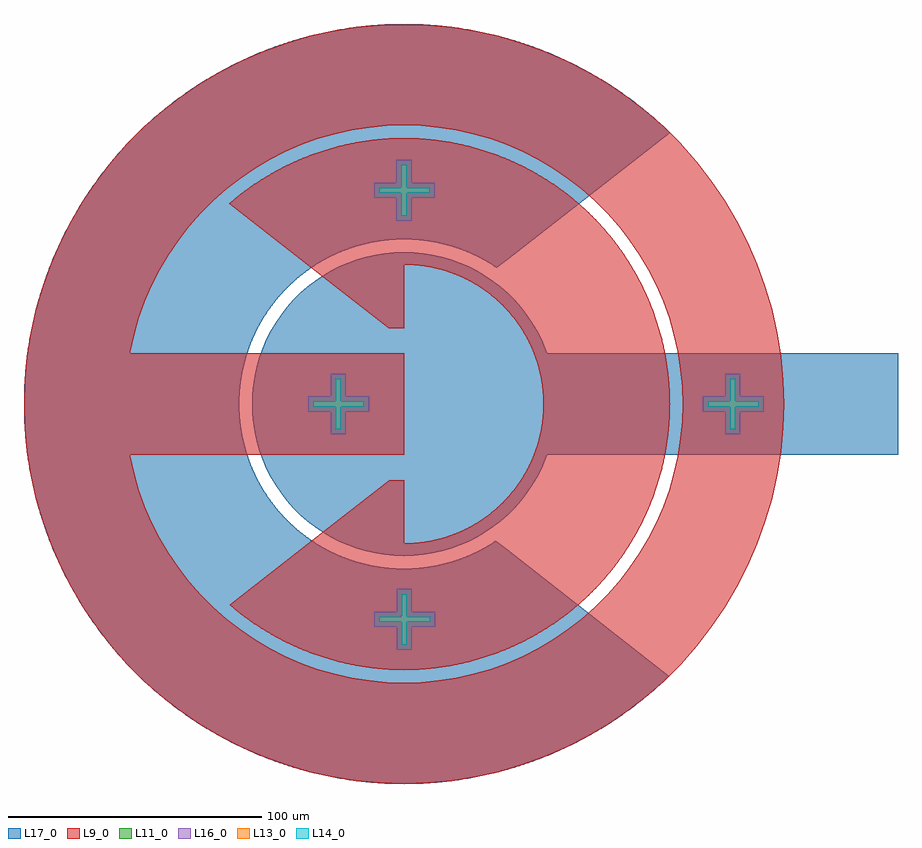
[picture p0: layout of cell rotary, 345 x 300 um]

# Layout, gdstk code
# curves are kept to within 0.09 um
import gdstk
lib = gdstk.Library(unit=1e-6, precision=1e-09)
def R(c, l, rs):  # rectangles x0, y0, x1, y1
    for r in rs: c.add(gdstk.rectangle(r[:2], r[2:], *l))
def P(c, l, *ps):  # polygons
    for p in ps: c.add(gdstk.Polygon(p, *l))
L9_0 = (9, 0)
L11_0 = (11, 0)
L13_0 = (13, 0)
L14_0 = (14, 0)
L16_0 = (16, 0)
L17_0 = (17, 0)
L218_0 = (218, 0)

contact_cross = lib.new_cell('contact_cross')
R(contact_cross, L9_0, [(0,0,30,30)])
R(contact_cross, L11_0, [(11.8,3,17.8,27), (3,12,27,18)])
R(contact_cross, L13_0, [(13.8,5,15.8,25), (5,14,25,16)])
R(contact_cross, L14_0, [(13.8,5,15.8,25), (5,14,25,16)])
R(contact_cross, L16_0, [(11.8,3,17.8,27), (3,12,27,18)])
R(contact_cross, L17_0, [(0,0,30,30)])

rotary = lib.new_cell('rotary')
P(rotary, L9_0, [(150,0.2),(149.704,9.619),(148.817,19),(147.343,28.307),(145.287,37.503),(142.658,46.553),(139.466,55.419),(135.724,64.067),(131.446,72.463),(126.649,80.574),(121.353,88.368),(115.577,95.814),(109.345,102.882),(102.682,109.545),(95.614,115.777),(88.168,121.553),(80.374,126.849),(72.263,131.646),(63.867,135.924),(55.219,139.666),(46.353,142.858),(37.303,145.487),(28.107,147.543),(18.8,149.017),(9.419,149.904),(0,150.2),(-9.419,149.904),(-18.8,149.017),(-28.107,147.543),(-37.303,145.487),(-46.353,142.858),(-55.219,139.666),(-63.867,135.924),(-72.263,131.646),(-80.374,126.849),(-88.168,121.553),(-95.614,115.777),(-102.682,109.545),(-109.345,102.882),(-115.577,95.814),(-121.353,88.368),(-126.649,80.574),(-131.446,72.463),(-135.724,64.067),(-139.466,55.419),(-142.658,46.553),(-145.287,37.503),(-147.343,28.307),(-148.817,19),(-149.704,9.619),(-150,0.2),(0,0.2),(0,20.2),(-108.149,20.2),(-106.544,27.556),(-104.616,34.192),(-102.275,40.694),(-99.531,47.036),(-96.394,53.193),(-92.876,59.141),(-88.992,64.856),(-84.756,70.317),(-80.187,75.5),(-75.3,80.387),(-70.117,84.956),(-64.656,89.192),(-58.941,93.076),(-52.993,96.594),(-46.836,99.731),(-40.494,102.475),(-33.992,104.816),(-27.356,106.744),(-20.612,108.252),(-13.787,109.333),(-6.907,109.983),(0,110.2),(6.907,109.983),(13.787,109.333),(20.612,108.252),(27.356,106.744),(33.992,104.816),(40.494,102.475),(46.836,99.731),(52.993,96.594),(58.941,93.076),(64.656,89.192),(70.117,84.956),(75.3,80.387),(80.187,75.5),(84.756,70.317),(88.992,64.856),(92.876,59.141),(96.394,53.193),(99.531,47.036),(102.275,40.694),(104.616,34.192),(106.544,27.556),(108.052,20.812),(109.133,13.987),(109.783,7.107),(110,0.2)],
  [(150,0.2),(110,0.2),(109.783,-6.707),(109.133,-13.587),(108.052,-20.412),(106.544,-27.156),(104.616,-33.792),(102.275,-40.294),(99.531,-46.636),(96.394,-52.793),(92.876,-58.741),(88.992,-64.456),(84.756,-69.917),(80.187,-75.1),(75.3,-79.987),(70.117,-84.556),(64.656,-88.792),(58.941,-92.676),(52.993,-96.194),(46.836,-99.331),(40.494,-102.075),(33.992,-104.416),(27.356,-106.344),(20.612,-107.852),(13.787,-108.933),(6.907,-109.583),(0,-109.8),(-6.907,-109.583),(-13.787,-108.933),(-20.612,-107.852),(-27.356,-106.344),(-33.992,-104.416),(-40.494,-102.075),(-46.836,-99.331),(-52.993,-96.194),(-58.941,-92.676),(-64.656,-88.792),(-70.117,-84.556),(-75.3,-79.987),(-80.187,-75.1),(-84.756,-69.917),(-88.992,-64.456),(-92.876,-58.741),(-96.394,-52.793),(-99.531,-46.636),(-102.275,-40.294),(-104.616,-33.792),(-106.544,-27.156),(-108.149,-19.8),(0,-19.8),(0,0.2),(-150,0.2),(-149.704,-9.219),(-148.817,-18.6),(-147.343,-27.907),(-145.287,-37.103),(-142.658,-46.153),(-139.466,-55.019),(-135.724,-63.667),(-131.446,-72.063),(-126.649,-80.174),(-121.353,-87.968),(-115.577,-95.414),(-109.345,-102.482),(-102.682,-109.145),(-95.614,-115.377),(-88.168,-121.153),(-80.374,-126.449),(-72.263,-131.246),(-63.867,-135.524),(-55.219,-139.266),(-46.353,-142.458),(-37.303,-145.087),(-28.107,-147.143),(-18.8,-148.617),(-9.419,-149.504),(0,-149.8),(9.419,-149.504),(18.8,-148.617),(28.107,-147.143),(37.303,-145.087),(46.353,-142.458),(55.219,-139.266),(63.867,-135.524),(72.263,-131.246),(80.374,-126.449),(88.168,-121.153),(95.614,-115.377),(102.682,-109.145),(109.345,-102.482),(115.577,-95.414),(121.353,-87.968),(126.649,-80.174),(131.446,-72.063),(135.724,-63.667),(139.466,-55.019),(142.658,-46.153),(145.287,-37.103),(147.343,-27.907),(148.817,-18.6),(149.704,-9.219)],
  [(18.07,-51.746),(13.678,-53.072),(8.945,-54.068),(4.487,-54.617),(0,-54.8),(0,-29.8),(-5.819,-29.8),(-25.39,-45.098),(-25.39,-101.683),(-20.323,-102.815),(-14.468,-103.798),(-9.224,-104.394),(-3.957,-104.725),(1.319,-104.792),(7.251,-104.549),(12.505,-104.053),(18.07,-103.233)],
  [(-25.39,-45.098),(-68.853,-79.073),(-63.833,-83.169),(-59.019,-86.643),(-53.449,-90.178),(-48.256,-93.054),(-42.908,-95.633),(-36.806,-98.138),(-31.189,-100.061),(-25.39,-101.683)],
  [(91.378,-51.52),(18.708,-51.52),(18.07,-51.746),(18.07,-103.233),(23.548,-102.125),(29.294,-100.631),(34.946,-98.814),(40.486,-96.681),(45.897,-94.238),(51.161,-91.493),(55.704,-88.806),(60.645,-85.516),(65.393,-81.951),(69.438,-78.562),(73.778,-74.511),(77.883,-70.222),(81.739,-65.708),(85.333,-60.983),(88.299,-56.618)],
  [(105,0.2),(61.85,0.2),(61.85,-51.52),(91.378,-51.52),(94.438,-45.697),(97.382,-39.066),(99.655,-32.874),(101.535,-26.551),(103.015,-20.123),(104.172,-12.96),(104.793,-6.393)],
  [(61.85,0.2),(55,0.2),(54.787,-4.632),(54.151,-9.426),(53.096,-14.146),(51.748,-18.431),(49.912,-22.905),(47.689,-27.2),(45.097,-31.284),(42.157,-35.124),(39.617,-37.951),(37.143,-40.363),(34.523,-42.615),(31.484,-44.897),(28.294,-46.964),(25.277,-48.648),(21.843,-50.277),(18.708,-51.52),(61.85,-51.52)],
  [(17.98,103.649),(12.505,104.453),(7.251,104.949),(1.319,105.192),(-3.957,105.125),(-9.881,104.734),(-15.121,104.105),(-20.323,103.215),(-25.53,102.049),(-25.53,45.396),(-6.025,30.2),(0,30.2),(0,55.2),(4.487,55.017),(8.945,54.468),(13.343,53.557),(17.98,52.178)],
  [(-25.53,102.049),(-31.819,100.263),(-37.423,98.305),(-42.908,96.033),(-48.841,93.149),(-54.581,89.899),(-59.563,86.671),(-64.355,83.166),(-69.049,79.302),(-25.53,45.396)],
  [(91.373,51.929),(88.299,57.018),(85.333,61.383),(81.739,66.108),(77.883,70.622),(73.778,74.911),(69.438,78.962),(65.393,82.351),(60.645,85.916),(55.704,89.206),(51.161,91.893),(45.897,94.638),(40.486,97.081),(34.946,99.214),(29.294,101.031),(23.548,102.525),(17.98,103.649),(17.98,52.178),(18.683,51.929)],
  [(105,0.2),(104.793,6.793),(104.172,13.36),(103.015,20.523),(101.535,26.951),(99.655,33.274),(97.382,39.466),(94.438,46.097),(91.373,51.929),(61.84,51.929),(61.84,0.2)],
  [(61.84,51.929),(18.683,51.929),(22.791,50.256),(26.496,48.397),(30.052,46.264),(33.71,43.659),(36.888,40.996),(39.856,38.101),(42.598,34.991),(45.097,31.684),(47.341,28.197),(49.315,24.552),(51.138,20.447),(52.518,16.537),(53.599,12.535),(54.376,8.462),(54.844,4.343),(55,0.2),(61.84,0.2)])
P(rotary, L17_0, [(-22.663,-73.94),(-130.396,-73.94),(-126.142,-80.968),(-121.353,-87.968),(-116.175,-94.686),(-110.627,-101.1),(-104.725,-107.19),(-98.488,-112.938),(-91.936,-118.323),(-85.09,-123.33),(-77.973,-127.942),(-70.606,-132.144),(-63.013,-135.923),(-55.219,-139.266),(-47.248,-142.164),(-39.126,-144.607),(-30.879,-146.587),(-22.663,-148.078)],
  [(-22.663,-60.721),(-27.306,-58.786),(-31.671,-56.562),(-35.857,-54.015),(-39.839,-51.16),(-43.595,-48.013),(-47.102,-44.592),(-50.343,-40.917),(-53.297,-37.008),(-55.948,-32.888),(-58.282,-28.579),(-60.284,-24.107),(-61.944,-19.497),(-63.251,-14.775),(-64.2,-9.968),(-64.783,-5.103),(-65,0.2),(-86.333,0.2),(-86.333,-73.94),(-22.663,-73.94)],
  [(-86.333,0.2),(-150,0.2),(-149.642,-10.159),(-148.696,-19.535),(-147.164,-28.832),(-145.05,-38.016),(-142.065,-47.942),(-138.762,-56.767),(-134.911,-65.367),(-130.396,-73.94),(-86.333,-73.94)],
  [(104.667,-107.246),(40.997,-57.384),(40.997,-144.089),(49.923,-141.249),(58.706,-137.835),(66.414,-134.296),(74.728,-129.861),(82.747,-124.912),(90.439,-119.469),(97.775,-113.554)],
  [(40.997,-57.384),(36.31,-53.713),(32.736,-55.955),(28.779,-58.082),(24.686,-59.93),(20.474,-61.491),(16.165,-62.758),(12.18,-63.649),(7.741,-64.337),(3.266,-64.718),(-3.266,-64.718),(-6.93,-64.43),(-10.168,-64),(-16.56,-62.655),(-22.663,-60.721),(-22.663,-101.753),(40.997,-101.753)],
  [(40.997,-101.753),(-22.663,-101.753),(-22.663,-148.078),(-15.054,-149.043),(-6.595,-149.655),(0.942,-149.797),(9.419,-149.504),(16.928,-148.842),(25.325,-147.647),(32.721,-146.188),(40.997,-144.089)],
  [(-22.497,148.504),(-30.879,146.987),(-39.126,145.007),(-47.248,142.564),(-55.219,139.666),(-63.013,136.323),(-70.606,132.544),(-77.973,128.342),(-85.09,123.73),(-91.936,118.723),(-98.488,113.338),(-104.725,107.59),(-110.627,101.5),(-116.175,95.086),(-121.353,88.368),(-126.142,81.368),(-130.388,74.354),(-22.497,74.354)],
  [(-22.497,74.354),(-86.247,74.354),(-86.247,0.2),(-65,0.2),(-64.872,4.281),(-64.435,8.752),(-63.691,13.181),(-62.75,17.155),(-61.429,21.448),(-59.974,25.263),(-58.282,28.979),(-56.36,32.582),(-53.297,37.408),(-50.083,41.633),(-46.25,45.872),(-42.059,49.759),(-37.542,53.262),(-32.736,56.355),(-27.676,59.014),(-22.497,61.183)],
  [(-86.247,74.354),(-130.388,74.354),(-134.911,65.767),(-138.762,57.167),(-142.065,48.342),(-145.05,38.416),(-147.164,29.232),(-148.696,19.935),(-149.642,10.559),(-150,0.2),(-86.247,0.2)],
  [(105.013,107.307),(98.488,113.338),(91.19,119.299),(83.531,124.789),(75.543,129.789),(67.257,134.276),(58.706,138.235),(49.923,141.649),(41.253,144.415),(41.253,57.532)],
  [(41.253,144.415),(33.641,146.379),(25.325,148.047),(16.928,149.242),(9.419,149.904),(0.942,150.197),(-6.595,150.055),(-15.054,149.443),(-22.497,148.504),(-22.497,102.05),(41.253,102.05)],
  [(41.253,102.05),(-22.497,102.05),(-22.497,61.183),(-18.526,62.504),(-14.975,63.451),(-11.376,64.197),(-7.336,64.785),(-3.266,65.118),(0.408,65.199),(4.081,65.072),(7.741,64.737),(11.376,64.197),(15.372,63.356),(19.308,62.266),(22.785,61.076),(26.189,59.691),(29.873,57.929),(33.439,55.939),(36.611,53.908),(41.253,57.532)],
  [(195,20.2),(56.538,20.2),(54.29,25.747),(52.578,29.105),(50.66,32.35),(48.541,35.467),(46.231,38.445),(43.738,41.273),(41.073,43.938),(38.245,46.431),(35.267,48.741),(32.15,50.86),(28.905,52.778),(25.547,54.49),(22.087,55.987),(18.541,57.263),(14.921,58.315),(11.243,59.137),(7.52,59.727),(3.767,60.082),(0,60.2),(-3.767,60.082),(-7.52,59.727),(-11.243,59.137),(-14.921,58.315),(-18.541,57.263),(-22.087,55.987),(-25.547,54.49),(-28.905,52.778),(-32.15,50.86),(-35.267,48.741),(-38.245,46.431),(-41.073,43.938),(-43.738,41.273),(-46.231,38.445),(-48.541,35.467),(-50.66,32.35),(-52.578,29.105),(-54.29,25.747),(-55.787,22.287),(-57.063,18.741),(-58.115,15.121),(-58.937,11.443),(-59.527,7.72),(-59.882,3.967),(-60,0.2),(-59.882,-3.567),(-59.527,-7.32),(-58.937,-11.043),(-58.115,-14.721),(-57.063,-18.341),(-55.787,-21.887),(-54.29,-25.347),(-52.578,-28.705),(-50.66,-31.95),(-48.541,-35.067),(-46.231,-38.045),(-43.738,-40.873),(-41.073,-43.538),(-38.245,-46.031),(-35.267,-48.341),(-32.15,-50.46),(-28.905,-52.378),(-25.547,-54.09),(-22.087,-55.587),(-18.541,-56.863),(-14.921,-57.915),(-11.243,-58.737),(-7.52,-59.327),(-3.767,-59.682),(0,-59.8),(3.767,-59.682),(7.52,-59.327),(11.243,-58.737),(14.921,-57.915),(18.541,-56.863),(22.087,-55.587),(25.547,-54.09),(28.905,-52.378),(32.15,-50.46),(35.267,-48.341),(38.245,-46.031),(41.073,-43.538),(43.738,-40.873),(46.231,-38.045),(48.541,-35.067),(50.66,-31.95),(52.578,-28.705),(54.29,-25.347),(56.538,-19.8),(195,-19.8)])
rotary.add(gdstk.FlexPath([(150,20.2),(150,-19.8),(150.1,-19.8)], 0, ends="flush", simple_path=True, layer=218, datatype=0))  # L218_0
rotary.add(gdstk.Reference(contact_cross, (-40.8,-14.8)))
rotary.add(gdstk.Reference(contact_cross, (-14.8,69.6)))
rotary.add(gdstk.Reference(contact_cross, (-14.7,-99.8)))
rotary.add(gdstk.Reference(contact_cross, (115,-14.8)))

lib.write_gds('rotary.gds')
